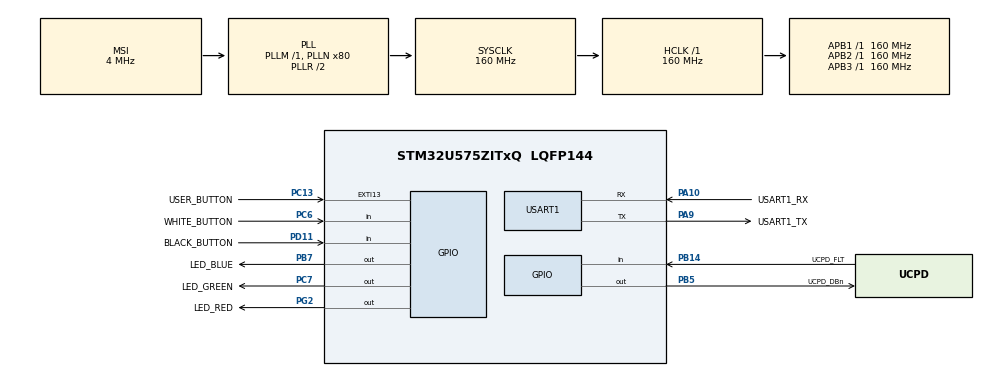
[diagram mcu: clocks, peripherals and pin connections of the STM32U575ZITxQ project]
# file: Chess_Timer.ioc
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CORTEX_M33_NS.userName=CORTEX_M33
Mcu.Family=STM32U5
Mcu.Name=STM32U575ZITxQ
Mcu.Package=LQFP144
NVIC.PriorityGroup=NVIC_PRIORITYGROUP_3
NVIC.TIM6_IRQn=true\:0\:0\:false\:false\:true\:true\:true\:true
NVIC.TIM7_IRQn=true\:0\:0\:false\:false\:true\:true\:true\:true
PA10.GPIO_Label=USART1_RX
PA10.GPIO_PuPd=GPIO_PULLDOWN
PA10.GPIO_Speed=GPIO_SPEED_FREQ_VERY_HIGH
PA10.Mode=Asynchronous
PA10.Signal=USART1_RX
PA11.GPIO_Mode=GPIO_MODE_AF_PP
PA11.GPIO_PuPd=GPIO_NOPULL
PA11.GPIO_Speed=GPIO_SPEED_FREQ_LOW
PA11.Signal=USB_OTG_FS_DM
PA12.GPIO_Mode=GPIO_MODE_AF_PP
PA12.GPIO_PuPd=GPIO_NOPULL
PA12.GPIO_Speed=GPIO_SPEED_FREQ_LOW
PA12.Signal=USB_OTG_FS_DP
PA13\ (JTMS/SWDIO).Mode=Trace_Asynchronous_SW
PA13\ (JTMS/SWDIO).Signal=DEBUG_JTMS-SWDIO
PA14\ (JTCK/SWCLK).Mode=Trace_Asynchronous_SW
PA14\ (JTCK/SWCLK).Signal=DEBUG_JTCK-SWCLK
PA15\ (JTDI).GPIO_Label=UCPD1_CC1
PA15\ (JTDI).Signal=UCPD1_CC1
PA9.GPIO_Label=USART1_TX
PA9.GPIO_PuPd=GPIO_PULLDOWN
PA9.GPIO_Speed=GPIO_SPEED_FREQ_VERY_HIGH
PA9.Mode=Asynchronous
PA9.Signal=USART1_TX
PB14.GPIO_Label=UCPD_FLT
PB14.Signal=GPIO_Input
PB15.GPIO_Label=UCPD1_CC2
PB15.Signal=UCPD1_CC2
PB3\ (JTDO/TRACESWO).Mode=Trace_Asynchronous_SW
PB3\ (JTDO/TRACESWO).Signal=DEBUG_JTDO-SWO
PB5.GPIO_Label=UCPD_DBn
PB5.Signal=GPIO_Output
PB7.GPIO_Label=LED_BLUE
PB7.GPIO_ModeDefaultOutputPP=GPIO_MODE_OUTPUT_PP
PB7.GPIO_PuPd=GPIO_PULLUP
PB7.GPIO_Speed=GPIO_SPEED_FREQ_HIGH
PB7.Signal=GPIO_Output
PC13.GPIO_Label=USER_BUTTON
PC13.GPIO_ModeDefaultEXTI=GPIO_MODE_IT_FALLING
PC13.Signal=GPXTI13
PC14-OSC32_IN\ (PC14).Mode=LSE-External-Oscillator
PC14-OSC32_IN\ (PC14).Signal=RCC_OSC32_IN
PC15-OSC32_OUT\ (PC15).Mode=LSE-External-Oscillator
PC15-OSC32_OUT\ (PC15).Signal=RCC_OSC32_OUT
PC2.GPIO_Label=VBUS_SENSE
PC2.Signal=ADC1_IN3
PC6.GPIO_Label=WHITE_BUTTON
PC6.GPIO_PuPd=GPIO_PULLDOWN
PC6.Signal=GPIO_Input
PC7.GPIO_Label=LED_GREEN
PC7.GPIO_PuPd=GPIO_PULLUP
PC7.GPIO_Speed=GPIO_SPEED_FREQ_HIGH
PC7.Signal=GPIO_Output
PD11.GPIO_Label=BLACK_BUTTON
PD11.GPIO_PuPd=GPIO_PULLDOWN
PD11.Signal=GPIO_Input
PG2.GPIO_Label=LED_RED
PG2.GPIO_ModeDefaultOutputPP=GPIO_MODE_OUTPUT_PP
PG2.GPIO_PuPd=GPIO_PULLUP
PG2.GPIO_Speed=GPIO_SPEED_FREQ_HIGH
PG2.Signal=GPIO_Output
PWR.PowerMode=PWR_SMPS_SUPPLY
ProjectManager.HeapSize=0x200
ProjectManager.StackSize=0x400
ProjectManager.TargetToolchain=STM32CubeIDE
RCC.ADCFreq_Value=16000000
RCC.AHBFreq_Value=160000000
RCC.APB1Freq_Value=160000000
RCC.APB1TimFreq_Value=160000000
RCC.APB2Freq_Value=160000000
RCC.APB2TimFreq_Value=160000000
RCC.APB3Freq_Value=160000000
RCC.CortexFreq_Value=160000000
RCC.DACCLockSelectionVirtual=RCC_DAC1CLKSOURCE_LSI
RCC.EPOD_VALUE=4000000
RCC.HCLKFreq_Value=160000000
RCC.HSE_VALUE=16000000
RCC.HSI48_VALUE=48000000
RCC.HSI_VALUE=16000000
RCC.LSIDIV_VALUE=32000
RCC.MSI_VALUE=4000000
RCC.PLLN=80
RCC.SYSCLKFreq_VALUE=160000000
RCC.SYSCLKSource=RCC_SYSCLKSOURCE_PLLCLK
RCC.USBFreq_Value=48000000
RCC.VCOOutputFreq_Value=320000000
TIM6.PeriodNoDither=16000
TIM6.Prescaler=10000
TIM6.TIM_MasterOutputTrigger=TIM_TRGO_RESET
TIM7.PeriodNoDither=16000
TIM7.Prescaler=1000
USART1.VirtualMode-Asynchronous=VM_ASYNC
VP_ICACHE_VS_ENABLE_ICACHE_MEMORY.Mode=Memoryregions
VP_ICACHE_VS_ICACHE.Mode=DirectMappedCache
VP_LPBAMQUEUE_VS_QUEUE.Mode=QUEUEMODE
VP_LPBAM_VS_SIG1.Mode=SmartRun
VP_LPBAM_VS_SIG4.Mode=LPDMA1
VP_MEMORYMAP_VS_MEMORYMAP.Mode=CurAppReg
VP_PWR_VS_DBSignals.Mode=DisableDeadBatterySignals
VP_PWR_VS_LPOM.Mode=PowerOptimisation
VP_PWR_VS_SECSignals.Mode=Security/Privilege
VP_TIM6_VS_ClockSourceINT.Mode=Enable_Timer
VP_TIM7_VS_ClockSourceINT.Mode=Enable_Timer
board=NUCLEO-U575ZI-Q

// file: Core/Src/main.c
/* USER CODE BEGIN Header */
/**
  ******************************************************************************
  * @file           : main.c
  * @brief          : Main program body
  ******************************************************************************
  * @attention
  *
  * Copyright (c) 2023 STMicroelectronics.
  * All rights reserved.
  *
  * This software is licensed under terms that can be found in the LICENSE file
  * in the root directory of this software component.
  * If no LICENSE file comes with this software, it is provided AS-IS.
  *
  ******************************************************************************
  */
/* USER CODE END Header */
#include "main.h"
#include "icache.h"
#include "memorymap.h"
#include "tim.h"
#include "usart.h"
#include "gpio.h"

void SystemClock_Config(void);
static void SystemPower_Config(void);

int main(void)
{

  /* MCU Configuration--------------------------------------------------------*/

  /* Reset of all peripherals, Initializes the Flash interface and the Systick. */
  HAL_Init();

  /* USER CODE BEGIN Init */
  #define WHITE_TURN 0
  #define BLACK_TURN 1

  // State to describe which color's turn it is
  uint8_t color_state = WHITE_TURN;

  /* USER CODE END Init */

  /* Configure the system clock */
  SystemClock_Config();

  /* Configure the System Power */
  SystemPower_Config();

  /* Initialize all configured peripherals */
  MX_GPIO_Init();
  MX_ICACHE_Init();
  MX_TIM6_Init();
  MX_USART1_UART_Init();
  MX_TIM7_Init();
  MX_MEMORYMAP_Init();
  /* USER CODE BEGIN 2 */
  HAL_TIM_Base_Start_IT(&htim6);
  HAL_TIM_Base_Start_IT(&htim7);
  /* USER CODE END 2 */

  /* Infinite loop */
  while (1)
  {

    /* USER CODE BEGIN 3 */
	switch(color_state){
	case WHITE_TURN:
		if(HAL_GPIO_ReadPin(WHITE_BUTTON_GPIO_Port, WHITE_BUTTON_Pin) == GPIO_PIN_SET &&
		   HAL_GPIO_ReadPin(BLACK_BUTTON_GPIO_Port, BLACK_BUTTON_Pin) == GPIO_PIN_RESET)
		{
			color_state = BLACK_TURN;
		}
		HAL_GPIO_WritePin(LED_BLUE_GPIO_Port, LED_BLUE_Pin, GPIO_PIN_SET);
		break;

	case BLACK_TURN:
		if(HAL_GPIO_ReadPin(BLACK_BUTTON_GPIO_Port, BLACK_BUTTON_Pin) == GPIO_PIN_SET &&
           HAL_GPIO_ReadPin(WHITE_BUTTON_GPIO_Port, WHITE_BUTTON_Pin) == GPIO_PIN_RESET)
		{
			color_state = WHITE_TURN;
		}
		HAL_GPIO_WritePin(LED_BLUE_GPIO_Port, LED_BLUE_Pin, GPIO_PIN_RESET);
		break;

	default:
		break;
	}

	HAL_Delay((uint32_t)50);
  }
  /* USER CODE END 3 */
}

void SystemClock_Config(void)
{
  RCC_OscInitTypeDef RCC_OscInitStruct = {0};
  RCC_ClkInitTypeDef RCC_ClkInitStruct = {0};

  /** Configure the main internal regulator output voltage
  */
  if (HAL_PWREx_ControlVoltageScaling(PWR_REGULATOR_VOLTAGE_SCALE1) != HAL_OK)
  {
    Error_Handler();
  }

  /** Initializes the CPU, AHB and APB buses clocks
  */
  RCC_OscInitStruct.OscillatorType = RCC_OSCILLATORTYPE_MSI;
  RCC_OscInitStruct.MSIState = RCC_MSI_ON;
  RCC_OscInitStruct.MSICalibrationValue = RCC_MSICALIBRATION_DEFAULT;
  RCC_OscInitStruct.MSIClockRange = RCC_MSIRANGE_4;
  RCC_OscInitStruct.PLL.PLLState = RCC_PLL_ON;
  RCC_OscInitStruct.PLL.PLLSource = RCC_PLLSOURCE_MSI;
  RCC_OscInitStruct.PLL.PLLMBOOST = RCC_PLLMBOOST_DIV1;
  RCC_OscInitStruct.PLL.PLLM = 1;
  RCC_OscInitStruct.PLL.PLLN = 80;
  RCC_OscInitStruct.PLL.PLLP = 2;
  RCC_OscInitStruct.PLL.PLLQ = 2;
  RCC_OscInitStruct.PLL.PLLR = 2;
  RCC_OscInitStruct.PLL.PLLRGE = RCC_PLLVCIRANGE_0;
  RCC_OscInitStruct.PLL.PLLFRACN = 0;
  if (HAL_RCC_OscConfig(&RCC_OscInitStruct) != HAL_OK)
  {
    Error_Handler();
  }

  /** Initializes the CPU, AHB and APB buses clocks
  */
  RCC_ClkInitStruct.ClockType = RCC_CLOCKTYPE_HCLK|RCC_CLOCKTYPE_SYSCLK
                              |RCC_CLOCKTYPE_PCLK1|RCC_CLOCKTYPE_PCLK2
                              |RCC_CLOCKTYPE_PCLK3;
  RCC_ClkInitStruct.SYSCLKSource = RCC_SYSCLKSOURCE_PLLCLK;
  RCC_ClkInitStruct.AHBCLKDivider = RCC_SYSCLK_DIV1;
  RCC_ClkInitStruct.APB1CLKDivider = RCC_HCLK_DIV1;
  RCC_ClkInitStruct.APB2CLKDivider = RCC_HCLK_DIV1;
  RCC_ClkInitStruct.APB3CLKDivider = RCC_HCLK_DIV1;

  if (HAL_RCC_ClockConfig(&RCC_ClkInitStruct, FLASH_LATENCY_4) != HAL_OK)
  {
    Error_Handler();
  }
}

/**
  * @brief Power Configuration
  * @retval None
  */
static void SystemPower_Config(void)
{
  HAL_PWREx_EnableVddIO2();

  /*
   * Disable the internal Pull-Up in Dead Battery pins of UCPD peripheral
   */
  HAL_PWREx_DisableUCPDDeadBattery();

  /*
   * Switch to SMPS regulator instead of LDO
   */
  if (HAL_PWREx_ConfigSupply(PWR_SMPS_SUPPLY) != HAL_OK)
  {
    Error_Handler();
  }
}

/* USER CODE BEGIN 4 */
// Callback: tier has rolled over

void HAL_TIM_PeriodElapsedCallback(TIM_HandleTypeDef *htim)
{
	// Check which version of the timer triggered this callback and toggle LED
	if (htim == &htim6)
	{
		HAL_GPIO_TogglePin(LED_GREEN_GPIO_Port, LED_GREEN_Pin);
	}
	if (htim == &htim7)
	{
		HAL_GPIO_TogglePin(LED_RED_GPIO_Port, LED_RED_Pin);
	}
}
/* USER CODE END 4 */

void Error_Handler(void)
{
  __disable_irq();
  while (1)
  {
  }
}
